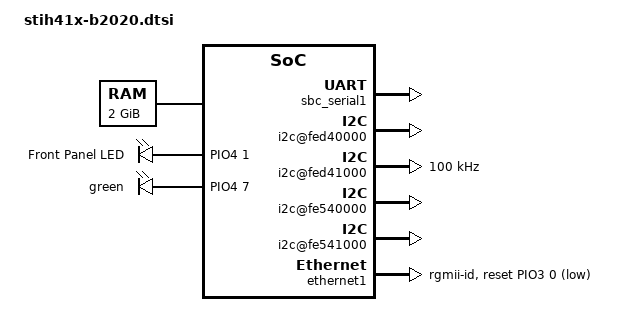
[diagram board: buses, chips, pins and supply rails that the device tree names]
/*
 * Copyright (C) 2013 STMicroelectronics (R&D) Limited.
 * Author: Srinivas Kandagatla <srinivas.kandagatla@st.com>
 *
 * This program is free software; you can redistribute it and/or modify
 * it under the terms of the GNU General Public License version 2 as
 * publishhed by the Free Software Foundation.
 */
#include "stih41x-b2020x.dtsi"
/ {
	memory{
		device_type = "memory";
		reg = <0x40000000 0x80000000>;
	};

	chosen {
		bootargs = "console=ttyAS0,115200 clk_ignore_unused";
		linux,stdout-path = &sbc_serial1;
	};

	aliases {
		ttyAS0 = &sbc_serial1;
		ethernet1 = &ethernet1;
	};
	soc {
		sbc_serial1: serial@fe531000 {
			status = "okay";
		};

		leds {
			compatible	= "gpio-leds";
			red {
				#gpio-cells = <1>;
				label	= "Front Panel LED";
				gpios	= <&PIO4 1>;
				linux,default-trigger	= "heartbeat";
			};
			green {
				gpios	= <&PIO4 7>;
				default-state = "off";
			};
		};

		i2c@fed40000 {
			status = "okay";
		};

		/* HDMI Tx I2C */
		i2c@fed41000 {
			/* HDMI V1.3a supports Standard mode only */
			clock-frequency = <100000>;
			i2c-min-scl-pulse-width-us = <0>;
			i2c-min-sda-pulse-width-us = <5>;

			status = "okay";
		};

		i2c@fe540000 {
			status = "okay";
		};

		i2c@fe541000 {
			status = "okay";
		};

		ethernet1: dwmac@fef08000 {
			status			= "okay";
			phy-mode		= "rgmii-id";
			max-speed		= <1000>;
			st,tx-retime-src	= "clk_125";
			snps,reset-gpio 	= <&PIO3 0>;
			snps,reset-active-low;
			snps,reset-delays-us 	= <0 10000 10000>;

			pinctrl-0	= <&pinctrl_rgmii1>;
		};
	};
};
